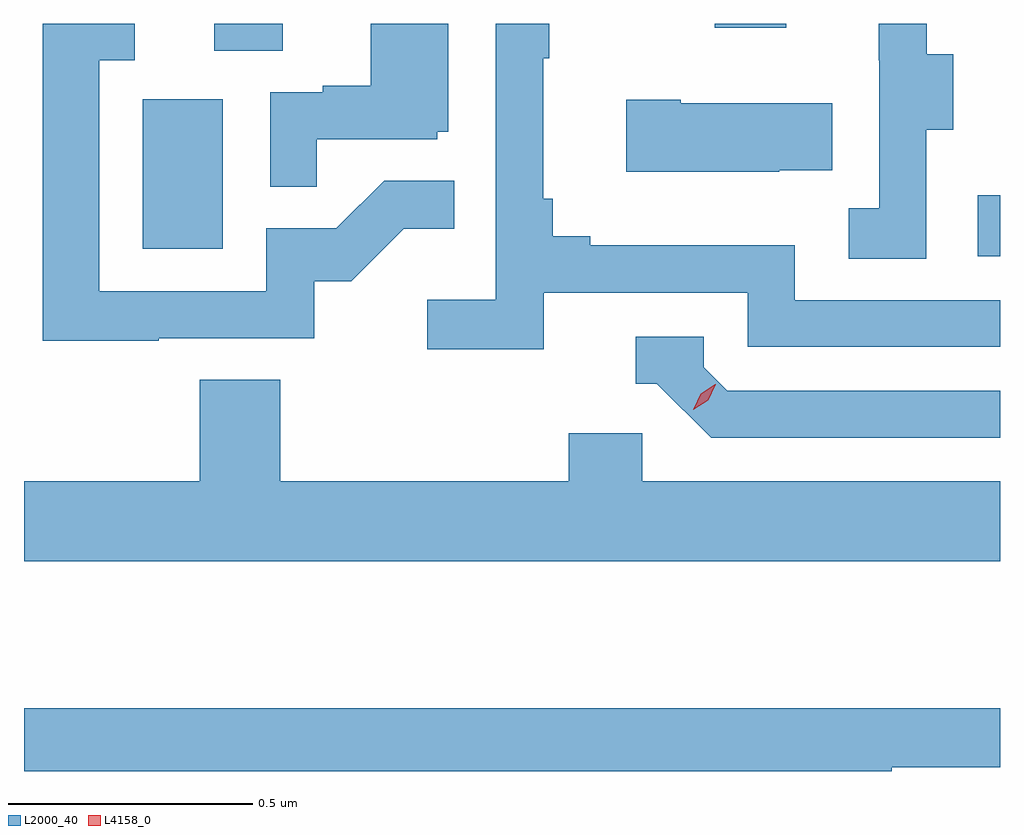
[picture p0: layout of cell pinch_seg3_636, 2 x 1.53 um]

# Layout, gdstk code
import gdstk
lib = gdstk.Library(unit=1e-6, precision=1e-09)
def R(c, l, rs):  # rectangles x0, y0, x1, y1
    for r in rs: c.add(gdstk.rectangle(r[:2], r[2:], *l))
def P(c, l, *ps):  # polygons
    for p in ps: c.add(gdstk.Polygon(p, *l))
L2000_40 = (2000, 40)
L4158_0 = (4158, 0)

pinch_seg3_636 = lib.new_cell('pinch_seg3_636')
R(pinch_seg3_636, L2000_40, [(1055.031,685.557,1055.077,685.682), (1053.32,685.572,1053.484,685.879), (1053.467,685.978,1053.607,686.033), (1054.492,686.025,1054.639,686.033)])
P(pinch_seg3_636, L2000_40, [(1053.677,685.797),(1053.924,685.797),(1053.924,685.812),(1053.946,685.812),(1053.946,686.033),(1053.788,686.033),(1053.788,685.906),(1053.689,685.906),(1053.689,685.893),(1053.582,685.893),(1053.582,685.699),(1053.677,685.699)],
  [(1053.353,685.389),(1053.672,685.389),(1053.672,685.506),(1053.748,685.506),(1053.855,685.613),(1053.959,685.613),(1053.959,685.712),(1053.815,685.712),(1053.717,685.614),(1053.573,685.614),(1053.573,685.485),(1053.231,685.485),(1053.231,685.959),(1053.304,685.959),(1053.304,686.033),(1053.115,686.033),(1053.115,685.384),(1053.353,685.384)],
  [(1054.142,685.482),(1054.56,685.482),(1054.56,685.371),(1055.077,685.371),(1055.077,685.467),(1054.656,685.467),(1054.656,685.579),(1054.237,685.579),(1054.237,685.598),(1054.16,685.598),(1054.16,685.675),(1054.141,685.675),(1054.141,685.963),(1054.153,685.963),(1054.153,686.033),(1054.044,686.033),(1054.044,685.468),(1053.903,685.468),(1053.903,685.366),(1054.142,685.366)],
  [(1054.926,685.816),(1054.981,685.816),(1054.981,685.971),(1054.927,685.971),(1054.927,686.033),(1054.829,686.033),(1054.829,685.959),(1054.83,685.959),(1054.83,685.655),(1054.767,685.655),(1054.767,685.552),(1054.926,685.552)],
  [(1054.625,685.733),(1054.733,685.733),(1054.733,685.87),(1054.423,685.87),(1054.423,685.878),(1054.311,685.878),(1054.311,685.73),(1054.625,685.73)],
  [(1055.077,685.281),(1054.518,685.281),(1054.47,685.329),(1054.47,685.392),(1054.331,685.392),(1054.331,685.296),(1054.374,685.296),(1054.485,685.185),(1055.077,685.185)],
  [(1054.193,685.194),(1054.193,685.096),(1053.602,685.096),(1053.602,685.304),(1053.437,685.304),(1053.437,685.096),(1053.077,685.096),(1053.077,684.932),(1055.077,684.932),(1055.077,685.096),(1054.344,685.096),(1054.344,685.194)],
  [(1054.855,684.51),(1055.077,684.51),(1055.077,684.631),(1053.077,684.631),(1053.077,684.502),(1054.855,684.502)])
P(pinch_seg3_636, L4158_0, [(1054.448,685.242),(1054.448,685.242),(1054.464,685.275),(1054.494,685.295),(1054.495,685.295),(1054.495,685.295),(1054.479,685.262),(1054.448,685.242)])

lib.write_gds('pinch_seg3_636.gds')
